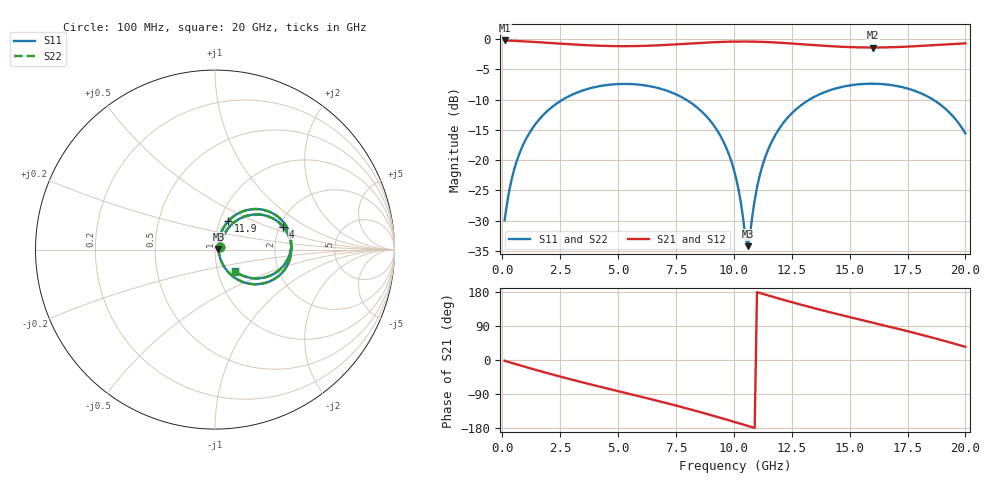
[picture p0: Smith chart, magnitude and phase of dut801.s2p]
! Touchstone file exported from HFSS 2026.1.0
!  File:  C:/ffzhzh/LocalFiles/Ansys_Project_Files/temp_train_TSV_RDL_801_1783262659_5512.aedt
!  Generated:  11:00:11 PM Jul  5, 2026
!  Design:  TSV_RDL
!  Project:  temp_train_TSV_RDL_801_1783262659_5512
! Variables:
!  h_bsmrdl = 5.41um
!  h_ox = 20um
!  h_rdl = 5um
!  h_sub = 52.53um
!  h_tmrdl = 2.04um
!  h_tsv = 52.53um
!  h_via = 3um
!  l_bsmrdl = 496.45um
!  l_sub = 5820.34um
!  l_tmrdl = 940.2um
!  m_sub = 200um
!  pitch = 48.23um
!  r_tsv = 13um
!  s_tmrdl = 10um
!  w_bsmrdl = 28.57um
!  w_sub = 500um
!  w_tmrdl = 28.16um
!  x_tsv_center1 = 954.28um
!  x_tsv_center2 = 1479.3um
!  x_tsv_center3 = 2447.66um
!  x_tsv_center4 = 2972.68um
!  x_tsv_center5 = 3941.04um
!  x_tsv_center6 = 4466.06um
# GHz S MA R 50.000000
! Terminal data exported
! Port[1] = TM_RDL1_1_T1
! Port[2] = TM_RDL5_1_T1
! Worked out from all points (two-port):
!   200 points, 100 MHz to 20 GHz, reference 50 ohm
!   highest |S21| = -0.24 dB at 100 MHz (marker M1); lowest = -1.4 dB at 16 GHz (marker M2)
!   |S21| within 3 dB of the highest: start of sweep to end of sweep
!   lowest |S11| = -34.2 dB at 10.6 GHz (marker M3), VSWR 1.04, Z = 52 + j0.242 ohm
!   |S11| at or under -10 dB: start of sweep to 2.613 GHz; 7.929 GHz to 13.27 GHz (5.34 GHz wide, 50.4 % of centre); 18.6 GHz to end of sweep
!   |S22| runs from -34.2 to -7.4 dB; largest |S21 - S12| = 2.2e-14
!   S11 on the Smith chart (normalised r, x): 100 MHz: 1.06, +0.03; 4 GHz: 2.09, +0.64; 11.9 GHz: 1.10, +0.36; 20 GHz: 1.21, -0.30
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0.1  0.03186 29.3  0.9726 -2.0  0.9726 -2.0  0.03186 29.3
! Gamma 0 0 0 0
! Port Impedance 50 0 50 0
0.5  0.08207 57.6  0.9652 -9.4  0.9652 -9.4  0.08207 57.6
1.2  0.1708 56.2  0.95 -21.8  0.95 -21.8  0.1708 56.2
2.2  0.2795 43.9  0.924 -38.8  0.924 -38.8  0.2795 43.9
3.5  0.3772 25.7  0.8915 -59.6  0.8915 -59.6  0.3772 25.7
4  0.4006 18.7  0.8824 -67.2  0.8824 -67.2  0.4006 18.7
5.4  0.4253 -0.8  0.8726 -88.1  0.8726 -88.1  0.4253 -0.8
6.8  0.3901 -20.6  0.8876 -109.2  0.8876 -109.2  0.3901 -20.6
8  0.3102 -38.3  0.9145 -128.3  0.9145 -128.3  0.3102 -38.3
8.9  0.2204 -51.5  0.9358 -143.5  0.9358 -143.5  0.2204 -51.5
9.6  0.1357 -60.3  0.948 -155.8  0.948 -155.8  0.1357 -60.3
10.1  0.07053 -61.3  0.9525 -164.8  0.9525 -164.8  0.07054 -61.2
10.6  0.01946 6.9  0.9527 -173.8  0.9527 -173.8  0.01961 6.9
11.1  0.07231 69.6  0.9484 177.2  0.9484 177.2  0.07239 69.5
11.4  0.1115 69.9  0.9439 171.8  0.9439 171.8  0.1116 69.8
11.9  0.1745 65.0  0.9335 163.0  0.9335 163.0  0.1746 64.9
13.4  0.327 43.7  0.892 137.8  0.892 137.8  0.3271 43.6
14.6  0.3993 26.5  0.8636 119.2  0.8636 119.2  0.3994 26.4
16  0.4272 7.0  0.8506 98.5  0.8506 98.5  0.4273 6.9
16.7  0.4187 -2.6  0.8538 88.1  0.8538 88.1  0.4188 -2.7
18.6  0.3162 -29.4  0.8894 58.6  0.8894 58.6  0.3162 -29.5
20  0.1659 -47.1  0.9208 34.7  0.9208 34.7  0.1659 -47.5
